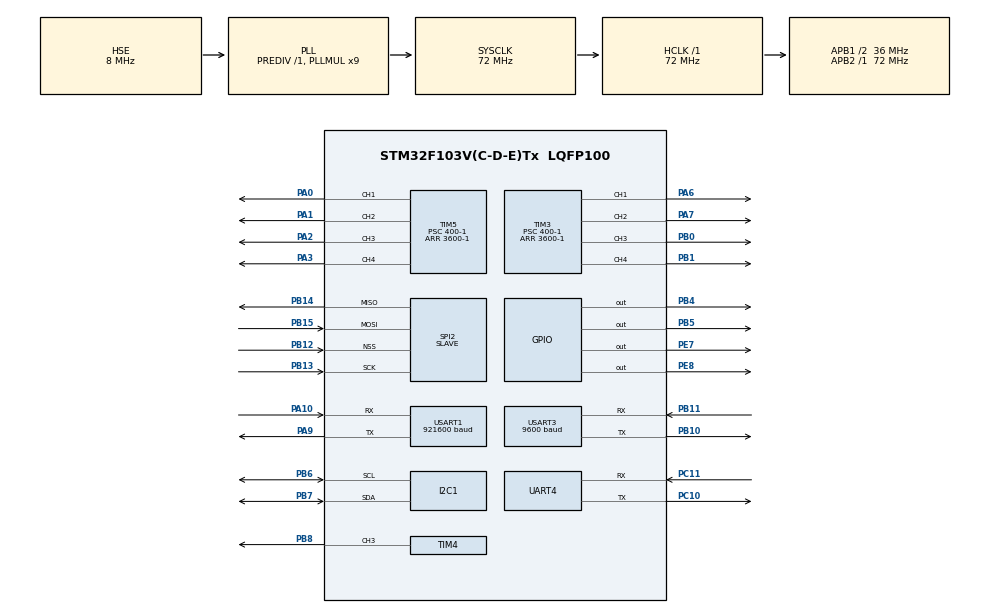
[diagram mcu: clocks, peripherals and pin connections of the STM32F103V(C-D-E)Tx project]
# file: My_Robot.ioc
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Mcu.Family=STM32F1
Mcu.Name=STM32F103V(C-D-E)Tx
Mcu.Package=LQFP100
NVIC.PriorityGroup=NVIC_PRIORITYGROUP_2
NVIC.SPI2_IRQn=true\:1\:3\:true\:false\:true\:true\:true\:true
NVIC.TIM1_UP_IRQn=true\:2\:3\:true\:false\:true\:true\:true\:true
NVIC.UART4_IRQn=true\:1\:3\:true\:false\:true\:true\:true\:true
NVIC.USART1_IRQn=true\:1\:3\:true\:false\:true\:true\:true\:true
NVIC.USART3_IRQn=true\:1\:3\:true\:false\:true\:true\:true\:true
OSC_IN.Mode=HSE-External-Oscillator
OSC_IN.Signal=RCC_OSC_IN
OSC_OUT.Mode=HSE-External-Oscillator
OSC_OUT.Signal=RCC_OSC_OUT
PA0-WKUP.Signal=S_TIM5_CH1
PA1.Signal=S_TIM5_CH2
PA10.Mode=Asynchronous
PA10.Signal=USART1_RX
PA13.Mode=Serial_Wire
PA13.Signal=SYS_JTMS-SWDIO
PA14.Mode=Serial_Wire
PA14.Signal=SYS_JTCK-SWCLK
PA2.Signal=S_TIM5_CH3
PA3.Signal=S_TIM5_CH4
PA6.Signal=S_TIM3_CH1
PA7.Signal=S_TIM3_CH2
PA9.Mode=Asynchronous
PA9.Signal=USART1_TX
PB0.Signal=S_TIM3_CH3
PB1.Signal=S_TIM3_CH4
PB10.Mode=Asynchronous
PB10.Signal=USART3_TX
PB11.Mode=Asynchronous
PB11.Signal=USART3_RX
PB12.Mode=NSS_Signal_Hard_Input
PB12.Signal=SPI2_NSS
PB13.Mode=Full_Duplex_Slave
PB13.Signal=SPI2_SCK
PB14.Mode=Full_Duplex_Slave
PB14.Signal=SPI2_MISO
PB15.Mode=Full_Duplex_Slave
PB15.Signal=SPI2_MOSI
PB4.GPIO_Speed=GPIO_SPEED_FREQ_HIGH
PB4.PinState=GPIO_PIN_SET
PB4.Signal=GPIO_Output
PB5.GPIO_Speed=GPIO_SPEED_FREQ_HIGH
PB5.PinState=GPIO_PIN_SET
PB5.Signal=GPIO_Output
PB6.Mode=I2C
PB6.Signal=I2C1_SCL
PB7.Mode=I2C
PB7.Signal=I2C1_SDA
PB8.Signal=S_TIM4_CH3
PC10.Mode=Asynchronous
PC10.Signal=UART4_TX
PC11.Mode=Asynchronous
PC11.Signal=UART4_RX
PE7.GPIO_Speed=GPIO_SPEED_FREQ_HIGH
PE7.Signal=GPIO_Output
PE8.GPIO_Speed=GPIO_SPEED_FREQ_HIGH
PE8.Signal=GPIO_Output
ProjectManager.HeapSize=0x200
ProjectManager.StackSize=0x400
ProjectManager.TargetToolchain=MDK-ARM V5.32
RCC.AHBFreq_Value=72000000
RCC.APB1CLKDivider=RCC_HCLK_DIV2
RCC.APB1Freq_Value=36000000
RCC.APB1TimFreq_Value=72000000
RCC.APB2Freq_Value=72000000
RCC.APB2TimFreq_Value=72000000
RCC.HCLKFreq_Value=72000000
RCC.PLLMUL=RCC_PLL_MUL9
RCC.PLLSourceVirtual=RCC_PLLSOURCE_HSE
RCC.SYSCLKFreq_VALUE=72000000
RCC.SYSCLKSource=RCC_SYSCLKSOURCE_PLLCLK
RCC.USBFreq_Value=72000000
SH.S_TIM3_CH1.0=TIM3_CH1,PWM Generation1 CH1
SH.S_TIM3_CH2.0=TIM3_CH2,PWM Generation2 CH2
SH.S_TIM3_CH3.0=TIM3_CH3,PWM Generation3 CH3
SH.S_TIM3_CH4.0=TIM3_CH4,PWM Generation4 CH4
SH.S_TIM4_CH3.0=TIM4_CH3,PWM Generation3 CH3
SH.S_TIM5_CH1.0=TIM5_CH1,PWM Generation1 CH1
SH.S_TIM5_CH2.0=TIM5_CH2,PWM Generation2 CH2
SH.S_TIM5_CH3.0=TIM5_CH3,PWM Generation3 CH3
SH.S_TIM5_CH4.0=TIM5_CH4,PWM Generation4 CH4
SPI2.Direction=SPI_DIRECTION_2LINES
SPI2.Mode=SPI_MODE_SLAVE
SPI2.VirtualNSS=VM_NSSHARD
SPI2.VirtualType=VM_SLAVE
TIM1.Period=100-1
TIM1.Prescaler=7200-1
TIM3.Channel-PWM\ Generation1\ CH1=TIM_CHANNEL_1
TIM3.Channel-PWM\ Generation2\ CH2=TIM_CHANNEL_2
TIM3.Channel-PWM\ Generation3\ CH3=TIM_CHANNEL_3
TIM3.Channel-PWM\ Generation4\ CH4=TIM_CHANNEL_4
TIM3.Period=3600-1
TIM3.Prescaler=400-1
TIM4.Channel-PWM\ Generation3\ CH3=TIM_CHANNEL_3
TIM4.Period=400-1
TIM4.Prescaler=72-1
TIM5.Channel-PWM\ Generation1\ CH1=TIM_CHANNEL_1
TIM5.Channel-PWM\ Generation2\ CH2=TIM_CHANNEL_2
TIM5.Channel-PWM\ Generation3\ CH3=TIM_CHANNEL_3
TIM5.Channel-PWM\ Generation4\ CH4=TIM_CHANNEL_4
TIM5.Period=3600-1
TIM5.Prescaler=400-1
UART4.VirtualMode=Asynchronous
USART1.BaudRate=921600
USART1.VirtualMode=VM_ASYNC
USART3.BaudRate=9600
USART3.VirtualMode=VM_ASYNC
VP_TIM1_VS_ClockSourceINT.Mode=Internal
VP_TIM3_VS_ClockSourceINT.Mode=Internal
VP_TIM4_VS_ClockSourceINT.Mode=Internal
VP_TIM5_VS_ClockSourceINT.Mode=Internal
board=custom

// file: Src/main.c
/* USER CODE BEGIN Header */
/**
  ******************************************************************************
  * @file           : main.c
  * @brief          : Main program body
  ******************************************************************************
  * @attention
  *
  * Copyright (c) 2024 STMicroelectronics.
  * All rights reserved.
  *
  * This software is licensed under terms that can be found in the LICENSE file
  * in the root directory of this software component.
  * If no LICENSE file comes with this software, it is provided AS-IS.
  *
  ******************************************************************************
  */
/* USER CODE END Header */
#include "main.h"
#include "i2c.h"
#include "spi.h"
#include "tim.h"
#include "usart.h"
#include "gpio.h"

/* USER CODE BEGIN Includes */
#include "protocol.h"
#include "JY901.h"
#include "motor.h"
#include "oled.h"
#include "motion_control.h"
#include "pid.h"
#include "eeprom.h"
/* USER CODE END Includes */

/* USER CODE BEGIN PV */
unsigned char oled_show_str[] = {"温度"};
//uint8_t i;
//uint8_t j;
/* USER CODE END PV */

void SystemClock_Config(void);

int main(void)
{

  /* USER CODE BEGIN 1 */
	int Call_10ms = 1;
  /* USER CODE END 1 */

  /* MCU Configuration--------------------------------------------------------*/

  /* Reset of all peripherals, Initializes the Flash interface and the Systick. */
  HAL_Init();

  /* Configure the system clock */
  SystemClock_Config();

  /* Initialize all configured peripherals */
  MX_GPIO_Init();
  MX_TIM3_Init();
  MX_TIM5_Init();
  MX_TIM4_Init();
  MX_TIM1_Init();
  MX_UART4_Init();
  MX_USART1_UART_Init();
  MX_USART3_UART_Init();
  MX_I2C1_Init();
  MX_SPI2_Init();
  /* USER CODE BEGIN 2 */

	/* ��ʼ����ʱ���жϺ�PWM */
	HAL_TIM_PWM_Start_IT(&htim4, TIM_CHANNEL_3);

	HAL_TIM_PWM_Start_IT(&htim5, TIM_CHANNEL_1);
	HAL_TIM_PWM_Start_IT(&htim5, TIM_CHANNEL_2);
	HAL_TIM_PWM_Start_IT(&htim5, TIM_CHANNEL_3);
	HAL_TIM_PWM_Start_IT(&htim5, TIM_CHANNEL_4);

	HAL_TIM_PWM_Start_IT(&htim3, TIM_CHANNEL_1);
	HAL_TIM_PWM_Start_IT(&htim3, TIM_CHANNEL_2);
	HAL_TIM_PWM_Start_IT(&htim3, TIM_CHANNEL_3);
	HAL_TIM_PWM_Start_IT(&htim3, TIM_CHANNEL_4);

	LED1_OFF();
	LED2_OFF();
	LEDF_OFF();
	BUZZER_OFF();

	OLED_Init();
	OLED_CLS();
	OLED_ShowStr(45,2,"R O V",2);
	HAL_Delay(1000);

	// 惯导模块使用串口3（波特率9600）
	jy901_init();
	HAL_Delay(1000);
	OLED_CLS();
	OLED_ShowStr(24,2,"JY901-Init",2);

	Motor_Init();
	OLED_CLS();
	OLED_ShowStr(26,2,"Motor-Init",2);
	HAL_Delay(500);

	OLED_CLS();
	OLED_ShowStr(32,2,"PidParam",2);
	OLED_ShowStr(36,4,"Loading",2);
	AT24C256_ReadByte(0x0000, 38, Flash_Pid);		//读取AT24C256存储的pid参数
	pidParamLoad(pPidObject, Flash_Pid);				// pid参数初始化
//	PID_ParamInit();
//	PID_Desired_Init();													// pid初始期望
	pidRest(pPidObject, 6);
	HAL_Delay(500);

	OLED_CLS();
	OLED_ShowStr(28,2,"B E G I N",2);

	// 打开定时器
	// 在IMU初始化之后，否则也无法初始化
	HAL_TIM_Base_Start_IT(&htim1);

	// 开机提示音
	Buzzer_Reset();
	Start_Robot.Buzzer_Flag = 1;

	// 串口接收中断在IMU初始化之后开，否则无法进行IMU初始化
	// 最后再开串口接收中断
	HAL_UART_Receive_IT(&huart1, &Rx1_Temp, 1);
	HAL_UART_Receive_IT(&huart3, &Rx3_Temp, 1);

//	UART4_Put_Char(Flash_Pid_R[1]);
//	UART4_Put_Char(Flash_Pid_R[0]);
//	UART4_Put_Char(Flash_Pid_R[37]);
//	UART4_Put_Char(Flash_Pid_R[36]);
//	UART4_Put_Char(FlashRBuff[2]);
//	OLED_ShowStr(30,2,&FlashRBuff[0],2);
//	OLED_ShowStr(30,6,&FlashRBuff[1],2);
//	OLED_ShowStr(30,10,&FlashRBuff[2],2);

  /* USER CODE END 2 */
  /* Infinite loop */
  /* USER CODE BEGIN WHILE */
  while (1)
  {
		if(Is_Recv_New_Cmd())
		{
			Parse_Cmd_Data(Get_RxBuffer(), Get_CMD_Length());
			Clear_CMD_Flag();
    }
	}
    /* USER CODE END WHILE */
}

void SystemClock_Config(void)
{
  RCC_OscInitTypeDef RCC_OscInitStruct = {0};
  RCC_ClkInitTypeDef RCC_ClkInitStruct = {0};

  /** Initializes the RCC Oscillators according to the specified parameters
  * in the RCC_OscInitTypeDef structure.
  */
  RCC_OscInitStruct.OscillatorType = RCC_OSCILLATORTYPE_HSE;
  RCC_OscInitStruct.HSEState = RCC_HSE_ON;
  RCC_OscInitStruct.HSEPredivValue = RCC_HSE_PREDIV_DIV1;
  RCC_OscInitStruct.HSIState = RCC_HSI_ON;
  RCC_OscInitStruct.PLL.PLLState = RCC_PLL_ON;
  RCC_OscInitStruct.PLL.PLLSource = RCC_PLLSOURCE_HSE;
  RCC_OscInitStruct.PLL.PLLMUL = RCC_PLL_MUL9;
  if (HAL_RCC_OscConfig(&RCC_OscInitStruct) != HAL_OK)
  {
    Error_Handler();
  }

  /** Initializes the CPU, AHB and APB buses clocks
  */
  RCC_ClkInitStruct.ClockType = RCC_CLOCKTYPE_HCLK|RCC_CLOCKTYPE_SYSCLK
                              |RCC_CLOCKTYPE_PCLK1|RCC_CLOCKTYPE_PCLK2;
  RCC_ClkInitStruct.SYSCLKSource = RCC_SYSCLKSOURCE_PLLCLK;
  RCC_ClkInitStruct.AHBCLKDivider = RCC_SYSCLK_DIV1;
  RCC_ClkInitStruct.APB1CLKDivider = RCC_HCLK_DIV2;
  RCC_ClkInitStruct.APB2CLKDivider = RCC_HCLK_DIV1;

  if (HAL_RCC_ClockConfig(&RCC_ClkInitStruct, FLASH_LATENCY_2) != HAL_OK)
  {
    Error_Handler();
  }
}

void Error_Handler(void)
{
  __disable_irq();
  while (1)
  {
  }
}
